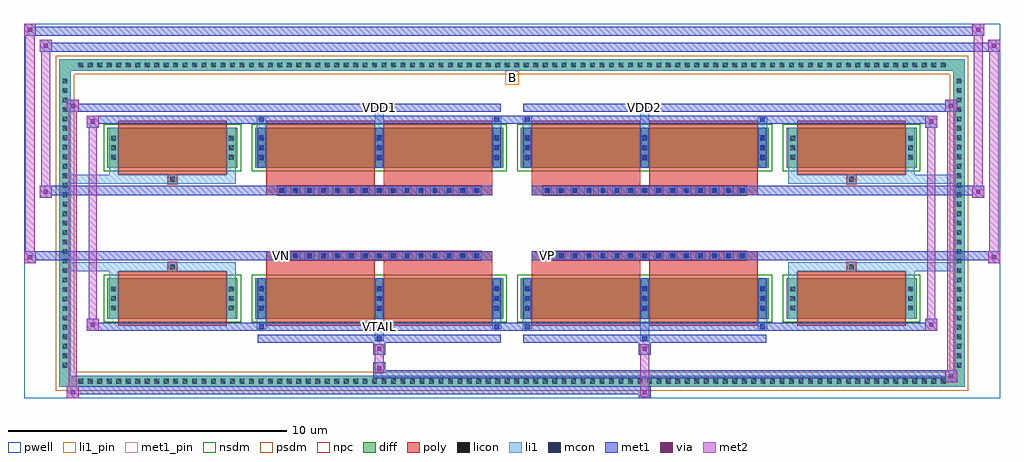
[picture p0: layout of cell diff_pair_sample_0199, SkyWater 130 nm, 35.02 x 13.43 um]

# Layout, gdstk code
import gdstk
lib = gdstk.Library(unit=1e-6, precision=5e-09)
def R(c, l, rs):  # rectangles x0, y0, x1, y1
    for r in rs: c.add(gdstk.rectangle(r[:2], r[2:], *l))
def A(c, l, x, y, w, h, nx, ny, dx, dy):  # array of equal rectangles
    R(c, l, [(x+i*dx, y+j*dy, x+i*dx+w, y+j*dy+h) for i in range(nx) for j in range(ny)])
def P(c, l, *ps):  # polygons
    for p in ps: c.add(gdstk.Polygon(p, *l))
pwell = (64, 44)
diff = (65, 20)
poly = (66, 20)
licon = (66, 44)
li1_pin = (67, 16)
li1 = (67, 20)
mcon = (67, 44)
met1_pin = (68, 16)
met1 = (68, 20)
via = (68, 44)
met2 = (69, 20)
nsdm = (93, 44)
psdm = (94, 20)
npc = (95, 20)

diff_pair_sample_0199 = lib.new_cell('diff_pair_sample_0199')
R(diff_pair_sample_0199, pwell, [(-17.51,-6.28,17.51,7.15), (-14.83,-4.47,-0.01,-0.805), (0.01,-4.47,14.83,-0.805), (-14.83,0.805,-0.01,4.47), (0.01,0.805,14.83,4.47)])
A(diff_pair_sample_0199, diff, -15.675, -5.88, 0.41, 0.41, 92, 2, 0.34, 11.35)
A(diff_pair_sample_0199, diff, -16.24, -5.305, 0.41, 0.41, 1, 31, 0, 0.34)
A(diff_pair_sample_0199, diff, 15.83, -5.305, 0.41, 0.41, 1, 31, 0, 0.34)
R(diff_pair_sample_0199, diff, [(-15.675,-5.88,15.675,-5.47), (-16.24,-5.305,-15.83,5.305), (15.83,-5.305,16.24,5.305), (-14.52,-3.425,-9.85,-1.985), (-9.21,-3.425,-0.32,-1.985), (0.32,-3.425,9.21,-1.985), (9.85,-3.425,14.52,-1.985), (-14.52,1.985,-9.85,3.425), (-9.21,1.985,-0.32,3.425), (0.32,1.985,9.21,3.425), (9.85,1.985,14.52,3.425), (-15.675,5.47,15.675,5.88)])
P(diff_pair_sample_0199, diff, [(16.24,5.88),(-16.24,5.88),(-16.24,-5.47),(-15.83,-5.47),(-15.83,5.47),(15.83,5.47),(15.83,-5.47),(-15.83,-5.47),(-16.24,-5.47),(-16.24,-5.88),(16.24,-5.88)])
A(diff_pair_sample_0199, poly, -8.43, -1.335, 0.33, 0.33, 15, 2, 0.5, 2.34)
A(diff_pair_sample_0199, poly, 1.1, -1.335, 0.33, 0.33, 15, 2, 0.5, 2.34)
R(diff_pair_sample_0199, poly, [(-14.13,-3.675,-10.24,-1.735), (-8.82,-3.675,-4.93,-1.735), (-4.6,-3.675,-0.71,-1.735), (0.71,-3.675,4.6,-1.735), (4.93,-3.675,8.82,-1.735), (10.24,-3.675,14.13,-1.735), (-12.35,-1.735,-12.02,-1.405), (-12.35,-1.735,-12.02,-1.405), (-8.82,-1.735,-4.93,-1.335), (-4.6,-1.735,-0.71,-1.335), (0.71,-1.735,4.6,-1.335), (4.93,-1.735,8.82,-1.335), (12.02,-1.735,12.35,-1.405), (12.02,-1.735,12.35,-1.405), (-8.82,-1.335,-0.71,-1.005), (0.71,-1.335,8.82,-1.005), (-8.82,1.005,-0.71,1.335), (0.71,1.005,8.82,1.335), (-8.82,1.335,-4.93,1.735), (-4.6,1.335,-0.71,1.735), (0.71,1.335,4.6,1.735), (4.93,1.335,8.82,1.735), (-12.35,1.405,-12.02,1.735), (-12.35,1.405,-12.02,1.735), (12.02,1.405,12.35,1.735), (12.02,1.405,12.35,1.735), (-14.13,1.735,-10.24,3.675), (-8.82,1.735,-4.93,3.675), (-4.6,1.735,-0.71,3.675), (0.71,1.735,4.6,3.675), (4.93,1.735,8.82,3.675), (10.24,1.735,14.13,3.675)])
A(diff_pair_sample_0199, licon, -15.555, -5.76, 0.17, 0.17, 92, 2, 0.34, 11.35)
A(diff_pair_sample_0199, licon, -16.12, -5.185, 0.17, 0.17, 1, 31, 0, 0.34)
A(diff_pair_sample_0199, licon, 15.95, -5.185, 0.17, 0.17, 1, 31, 0, 0.34)
A(diff_pair_sample_0199, licon, -14.38, -3.13, 0.17, 0.17, 1, 3, 0, 0.34)
A(diff_pair_sample_0199, licon, -10.16, -3.13, 0.17, 0.17, 1, 3, 0, 0.34)
A(diff_pair_sample_0199, licon, -9.07, -3.13, 0.17, 0.17, 3, 3, 4.22, 0.34)
A(diff_pair_sample_0199, licon, 0.46, -3.13, 0.17, 0.17, 3, 3, 4.22, 0.34)
A(diff_pair_sample_0199, licon, 9.99, -3.13, 0.17, 0.17, 1, 3, 0, 0.34)
A(diff_pair_sample_0199, licon, 14.21, -3.13, 0.17, 0.17, 1, 3, 0, 0.34)
A(diff_pair_sample_0199, licon, -8.35, -1.255, 0.17, 0.17, 15, 2, 0.5, 2.34)
A(diff_pair_sample_0199, licon, 1.18, -1.255, 0.17, 0.17, 15, 2, 0.5, 2.34)
A(diff_pair_sample_0199, licon, -14.38, 2.28, 0.17, 0.17, 1, 3, 0, 0.34)
A(diff_pair_sample_0199, licon, -10.16, 2.28, 0.17, 0.17, 1, 3, 0, 0.34)
A(diff_pair_sample_0199, licon, -9.07, 2.28, 0.17, 0.17, 3, 3, 4.22, 0.34)
A(diff_pair_sample_0199, licon, 0.46, 2.28, 0.17, 0.17, 3, 3, 4.22, 0.34)
A(diff_pair_sample_0199, licon, 9.99, 2.28, 0.17, 0.17, 1, 3, 0, 0.34)
A(diff_pair_sample_0199, licon, 14.21, 2.28, 0.17, 0.17, 1, 3, 0, 0.34)
R(diff_pair_sample_0199, licon, [(-12.27,-1.655,-12.1,-1.485), (12.1,-1.655,12.27,-1.485), (-12.27,1.485,-12.1,1.655), (12.1,1.485,12.27,1.655)])
R(diff_pair_sample_0199, li1_pin, [(-0.25,4.97,0.25,5.47)])
A(diff_pair_sample_0199, li1, -15.635, -5.84, 0.33, 0.33, 92, 2, 0.34, 11.35)
A(diff_pair_sample_0199, li1, -16.2, -5.265, 0.33, 0.33, 1, 31, 0, 0.34)
A(diff_pair_sample_0199, li1, 15.87, -5.265, 0.33, 0.33, 1, 31, 0, 0.34)
A(diff_pair_sample_0199, li1, -9.15, -3.425, 0.33, 1.44, 3, 2, 4.22, 5.41)
A(diff_pair_sample_0199, li1, 0.38, -3.425, 0.33, 1.44, 3, 2, 4.22, 5.41)
A(diff_pair_sample_0199, li1, -14.46, -3.21, 0.33, 0.33, 1, 3, 0, 0.34)
A(diff_pair_sample_0199, li1, -10.24, -3.21, 0.33, 0.33, 1, 3, 0, 0.34)
A(diff_pair_sample_0199, li1, -9.15, -3.21, 0.33, 0.33, 3, 3, 4.22, 0.34)
A(diff_pair_sample_0199, li1, 0.38, -3.21, 0.33, 0.33, 3, 3, 4.22, 0.34)
A(diff_pair_sample_0199, li1, 9.91, -3.21, 0.33, 0.33, 1, 3, 0, 0.34)
A(diff_pair_sample_0199, li1, 14.13, -3.21, 0.33, 0.33, 1, 3, 0, 0.34)
A(diff_pair_sample_0199, li1, -9.07, -3.15, 0.17, 0.17, 3, 3, 4.22, 0.36)
A(diff_pair_sample_0199, li1, -9.07, -3.15, 0.17, 0.89, 3, 2, 4.22, 5.41)
A(diff_pair_sample_0199, li1, 0.46, -3.15, 0.17, 0.17, 3, 3, 4.22, 0.36)
A(diff_pair_sample_0199, li1, 0.46, -3.15, 0.17, 0.89, 3, 2, 4.22, 5.41)
A(diff_pair_sample_0199, li1, -8.43, -1.335, 0.33, 0.33, 15, 2, 0.5, 2.34)
A(diff_pair_sample_0199, li1, 1.1, -1.335, 0.33, 0.33, 15, 2, 0.5, 2.34)
A(diff_pair_sample_0199, li1, -14.46, 2.2, 0.33, 0.33, 1, 3, 0, 0.34)
A(diff_pair_sample_0199, li1, -10.24, 2.2, 0.33, 0.33, 1, 3, 0, 0.34)
A(diff_pair_sample_0199, li1, -9.15, 2.2, 0.33, 0.33, 3, 3, 4.22, 0.34)
A(diff_pair_sample_0199, li1, 0.38, 2.2, 0.33, 0.33, 3, 3, 4.22, 0.34)
A(diff_pair_sample_0199, li1, 9.91, 2.2, 0.33, 0.33, 1, 3, 0, 0.34)
A(diff_pair_sample_0199, li1, 14.13, 2.2, 0.33, 0.33, 1, 3, 0, 0.34)
A(diff_pair_sample_0199, li1, -9.07, 2.26, 0.17, 0.17, 3, 3, 4.22, 0.36)
A(diff_pair_sample_0199, li1, 0.46, 2.26, 0.17, 0.17, 3, 3, 4.22, 0.36)
R(diff_pair_sample_0199, li1, [(-16.24,-5.88,-15.83,-5.47), (-16.24,-5.88,-15.83,-5.47), (-15.83,-5.88,15.83,-5.47), (15.83,-5.88,16.24,-5.47), (15.83,-5.88,16.24,-5.47), (-16.24,-5.47,-15.83,5.47), (15.83,-5.47,16.24,5.47), (-4.93,-4.23,-4.6,-3.425), (-4.85,-4.23,-4.68,-4.06), (4.6,-4.23,4.93,-3.425), (4.68,-4.23,4.85,-4.06), (-9.15,-3.8,-8.82,-3.425), (-9.07,-3.8,-8.9,-3.63), (-0.71,-3.8,-0.38,-3.425), (-0.63,-3.8,-0.46,-3.63), (0.38,-3.8,0.71,-3.425), (0.46,-3.8,0.63,-3.63), (8.82,-3.8,9.15,-3.425), (8.9,-3.8,9.07,-3.63), (-14.46,-3.425,-14.13,-1.985), (-10.24,-3.425,-9.91,-1.985), (9.91,-3.425,10.24,-1.985), (14.13,-3.425,14.46,-1.985), (-14.46,-1.985,-14.13,-1.405), (-10.24,-1.985,-9.91,-1.405), (9.91,-1.985,10.24,-1.405), (14.13,-1.985,14.46,-1.405), (-16.24,-1.735,-12.35,-1.405), (-14.46,-1.735,-12.35,-1.405), (-12.35,-1.735,-12.02,-1.405), (-12.02,-1.735,-9.91,-1.405), (9.91,-1.735,12.02,-1.405), (12.02,-1.735,12.35,-1.405), (12.02,-1.735,16.24,-1.405), (12.35,-1.735,14.46,-1.405), (-16.24,1.405,-12.35,1.735), (-14.46,1.405,-12.35,1.735), (-14.46,1.405,-14.13,1.985), (-12.35,1.405,-12.02,1.735), (-12.02,1.405,-9.91,1.735), (-10.24,1.405,-9.91,1.985), (9.91,1.405,12.02,1.735), (9.91,1.405,10.24,1.985), (12.02,1.405,12.35,1.735), (12.02,1.405,16.24,1.735), (12.35,1.405,14.46,1.735), (14.13,1.405,14.46,1.985), (-14.46,1.985,-14.13,3.425), (-10.24,1.985,-9.91,3.425), (9.91,1.985,10.24,3.425), (14.13,1.985,14.46,3.425), (-9.15,3.425,-8.82,3.8), (-4.93,3.425,-4.6,4.23), (-0.71,3.425,-0.38,3.8), (0.38,3.425,0.71,3.8), (4.6,3.425,4.93,4.23), (8.82,3.425,9.15,3.8), (-9.07,3.63,-8.9,3.8), (-0.63,3.63,-0.46,3.8), (0.46,3.63,0.63,3.8), (8.9,3.63,9.07,3.8), (-4.85,4.06,-4.68,4.23), (4.68,4.06,4.85,4.23), (-16.24,5.47,-15.83,5.88), (-16.24,5.47,-15.83,5.88), (-15.83,5.47,15.83,5.88), (15.83,5.47,16.24,5.88), (15.83,5.47,16.24,5.88)])
A(diff_pair_sample_0199, mcon, -9.07, -3.15, 0.17, 0.17, 3, 3, 4.22, 0.36)
A(diff_pair_sample_0199, mcon, 0.46, -3.15, 0.17, 0.17, 3, 3, 4.22, 0.36)
A(diff_pair_sample_0199, mcon, -8.35, -1.255, 0.17, 0.17, 15, 2, 0.5, 2.34)
A(diff_pair_sample_0199, mcon, 1.18, -1.255, 0.17, 0.17, 15, 2, 0.5, 2.34)
A(diff_pair_sample_0199, mcon, -9.07, 2.26, 0.17, 0.17, 3, 3, 4.22, 0.36)
A(diff_pair_sample_0199, mcon, 0.46, 2.26, 0.17, 0.17, 3, 3, 4.22, 0.36)
R(diff_pair_sample_0199, mcon, [(-4.85,-4.23,-4.68,-4.06), (4.68,-4.23,4.85,-4.06), (-9.07,-3.8,-8.9,-3.63), (-0.63,-3.8,-0.46,-3.63), (0.46,-3.8,0.63,-3.63), (8.9,-3.8,9.07,-3.63), (-9.07,3.63,-8.9,3.8), (-0.63,3.63,-0.46,3.8), (0.46,3.63,0.63,3.8), (8.9,3.63,9.07,3.8), (-4.85,4.06,-4.68,4.23), (4.68,4.06,4.85,4.23)])
R(diff_pair_sample_0199, met1_pin, [(-4.9,-3.84,-4.63,-3.57), (-8.4,-1.295,-8.13,-1.025), (1.13,-1.295,1.4,-1.025), (-4.9,4.02,-4.63,4.29), (4.63,4.02,4.9,4.29)])
A(diff_pair_sample_0199, met1, -9.13, -3.425, 0.29, 1.44, 3, 2, 4.22, 5.41)
A(diff_pair_sample_0199, met1, 0.4, -3.425, 0.29, 1.44, 3, 2, 4.22, 5.41)
A(diff_pair_sample_0199, met1, -9.13, -3.21, 0.29, 0.29, 3, 3, 4.22, 0.36)
A(diff_pair_sample_0199, met1, 0.4, -3.21, 0.29, 0.29, 3, 3, 4.22, 0.36)
A(diff_pair_sample_0199, met1, -8.41, -1.315, 0.29, 0.29, 15, 2, 0.5, 2.34)
A(diff_pair_sample_0199, met1, 1.12, -1.315, 0.29, 0.29, 15, 2, 0.5, 2.34)
A(diff_pair_sample_0199, met1, -9.13, 2.2, 0.29, 0.29, 3, 3, 4.22, 0.36)
A(diff_pair_sample_0199, met1, 0.4, 2.2, 0.29, 0.29, 3, 3, 4.22, 0.36)
R(diff_pair_sample_0199, met1, [(-15.97,-6.28,-15.54,-5.85), (4.55,-6.28,4.98,-5.85), (-15.97,-6.14,4.98,-5.85), (15.54,-5.71,15.97,-5.28), (-4.98,-5.57,15.97,-5.28), (-4.98,-5.43,-4.55,-5), (-4.98,-4.72,-4.55,-4.29), (4.55,-4.72,4.98,-4.29), (-9.13,-4.29,-0.4,-4), (-4.91,-4.29,-4.62,-4), (0.4,-4.29,9.13,-4), (4.62,-4.29,4.91,-4), (-15.26,-3.86,-14.83,-3.43), (-15.26,-3.86,-9.13,-3.57), (-9.13,-3.86,-8.84,-3.57), (-9.13,-3.86,-0.4,-3.57), (-0.69,-3.86,-0.4,-3.57), (-0.4,-3.86,0.4,-3.57), (0.4,-3.86,0.69,-3.57), (0.4,-3.86,9.13,-3.57), (8.84,-3.86,9.13,-3.57), (9.13,-3.86,15.26,-3.57), (14.83,-3.86,15.26,-3.43), (-17.51,-1.435,-17.08,-1.005), (17.08,-1.435,17.51,-1.005), (-17.51,-1.335,-0.71,-1.005), (-8.82,-1.335,-0.71,-1.005), (0.71,-1.335,8.82,-1.005), (0.71,-1.335,17.51,-1.005), (-16.94,0.905,-16.51,1.335), (16.51,0.905,16.94,1.335), (-16.94,1.005,-8.82,1.335), (-8.82,1.005,-0.71,1.335), (0.71,1.005,8.82,1.335), (8.82,1.005,16.94,1.335), (-15.26,3.43,-14.83,3.86), (14.83,3.43,15.26,3.86), (-15.26,3.57,-9.13,3.86), (-9.13,3.57,-8.84,3.86), (-9.13,3.57,-0.4,3.86), (-0.69,3.57,-0.4,3.86), (-0.4,3.57,0.4,3.86), (0.4,3.57,0.69,3.86), (0.4,3.57,9.13,3.86), (8.84,3.57,9.13,3.86), (9.13,3.57,15.26,3.86), (-15.97,4,-15.54,4.43), (-15.97,4,-9.13,4.29), (-9.13,4,-0.4,4.29), (-4.91,4,-4.62,4.29), (0.4,4,9.13,4.29), (4.62,4,4.91,4.29), (9.13,4,15.97,4.29), (15.54,4,15.97,4.43), (-16.94,6.15,-16.51,6.58), (-16.94,6.15,-14.83,6.48), (-14.83,6.15,14.83,6.48), (14.83,6.15,17.51,6.48), (17.08,6.15,17.51,6.58), (-17.51,6.72,-17.08,7.15), (-17.51,6.72,-14.83,7.05), (-14.83,6.72,14.83,7.05), (14.83,6.72,16.94,7.05), (16.51,6.72,16.94,7.15)])
R(diff_pair_sample_0199, via, [(-15.83,-6.14,-15.68,-5.99), (4.69,-6.14,4.84,-5.99), (15.68,-5.57,15.83,-5.42), (-4.84,-5.29,-4.69,-5.14), (-4.84,-4.58,-4.69,-4.43), (4.69,-4.58,4.84,-4.43), (-15.12,-3.72,-14.97,-3.57), (14.97,-3.72,15.12,-3.57), (-17.37,-1.295,-17.22,-1.145), (17.22,-1.295,17.37,-1.145), (-16.8,1.045,-16.65,1.195), (16.65,1.045,16.8,1.195), (-15.12,3.57,-14.97,3.72), (14.97,3.57,15.12,3.72), (-15.83,4.14,-15.68,4.29), (15.68,4.14,15.83,4.29), (-16.8,6.29,-16.65,6.44), (17.22,6.29,17.37,6.44), (-17.37,6.86,-17.22,7.01), (16.65,6.86,16.8,7.01)])
R(diff_pair_sample_0199, met2, [(-15.97,-6.28,-15.54,-5.85), (-15.9,-6.28,-15.61,4.43), (-15.61,-6.28,-15.54,-5.85), (-15.92,-6.23,-15.59,-5.9), (4.6,-6.23,4.93,-5.9), (4.6,-5.9,4.93,-4.67), (15.54,-5.71,15.97,-5.28), (15.61,-5.71,15.9,4.43), (15.9,-5.71,15.97,-5.28), (15.59,-5.66,15.92,-5.33), (-4.93,-5.38,-4.6,-5.05), (-4.93,-5.05,-4.6,-4.67), (-4.93,-4.67,-4.6,-4.34), (4.6,-4.67,4.93,-4.34), (-15.26,-3.86,-14.83,-3.43), (-15.19,-3.86,-14.9,3.86), (-14.9,-3.86,-14.83,-3.43), (14.83,-3.86,15.26,-3.43), (14.9,-3.86,15.19,3.86), (15.19,-3.86,15.26,-3.43), (-15.21,-3.81,-14.88,-3.48), (14.88,-3.81,15.21,-3.48), (-17.51,-1.435,-17.08,-1.005), (-17.46,-1.435,-17.13,7.15), (-17.13,-1.435,-17.08,-1.005), (17.08,-1.435,17.51,-1.005), (17.13,-1.435,17.46,6.58), (17.46,-1.435,17.51,-1.005), (-17.46,-1.385,-17.13,-1.055), (17.13,-1.385,17.46,-1.055), (-16.94,0.905,-16.51,1.335), (-16.89,0.905,-16.56,6.58), (-16.56,0.905,-16.51,1.335), (16.51,0.905,16.94,1.335), (16.56,0.905,16.89,7.15), (16.89,0.905,16.94,1.335), (-16.89,0.955,-16.56,1.285), (16.56,0.955,16.89,1.285), (-15.26,3.43,-14.83,3.86), (-14.9,3.43,-14.83,3.86), (14.83,3.43,15.26,3.86), (15.19,3.43,15.26,3.86), (-15.21,3.48,-14.88,3.81), (14.88,3.48,15.21,3.81), (-15.97,4,-15.54,4.43), (-15.61,4,-15.54,4.43), (15.54,4,15.97,4.43), (15.9,4,15.97,4.43), (-15.92,4.05,-15.59,4.38), (15.59,4.05,15.92,4.38), (-16.94,6.15,-16.51,6.58), (-16.56,6.15,-16.51,6.58), (17.08,6.15,17.51,6.58), (17.46,6.15,17.51,6.58), (-16.89,6.2,-16.56,6.53), (17.13,6.2,17.46,6.53), (-17.51,6.72,-17.08,7.15), (-17.13,6.72,-17.08,7.15), (16.51,6.72,16.94,7.15), (16.89,6.72,16.94,7.15), (-17.46,6.77,-17.13,7.1), (16.56,6.77,16.89,7.1)])
R(diff_pair_sample_0199, nsdm, [(-14.65,-3.555,-9.72,-1.855), (-9.34,-3.555,-0.19,-1.855), (0.19,-3.555,9.34,-1.855), (9.72,-3.555,14.65,-1.855), (-14.65,1.855,-9.72,3.555), (-9.34,1.855,-0.19,3.555), (0.19,1.855,9.34,3.555), (9.72,1.855,14.65,3.555)])
P(diff_pair_sample_0199, psdm, [(16.37,6.01),(-16.37,6.01),(-16.37,-5.34),(-15.7,-5.34),(-15.7,5.34),(15.7,5.34),(15.7,-5.34),(-15.7,-5.34),(-16.37,-5.34),(-16.37,-6.01),(16.37,-6.01)])
A(diff_pair_sample_0199, npc, -8.45, -1.355, 0.37, 0.37, 15, 2, 0.5, 2.34)
A(diff_pair_sample_0199, npc, 1.08, -1.355, 0.37, 0.37, 15, 2, 0.5, 2.34)
R(diff_pair_sample_0199, npc, [(-12.37,-1.755,-12,-1.385), (12,-1.755,12.37,-1.385), (-8.45,-1.355,-7.58,-0.985), (-8.45,-1.355,-7.58,-0.985), (-7.95,-1.355,-7.08,-0.985), (-7.95,-1.355,-7.08,-0.985), (-7.45,-1.355,-6.58,-0.985), (-7.45,-1.355,-6.58,-0.985), (-6.95,-1.355,-6.08,-0.985), (-6.95,-1.355,-6.08,-0.985), (-6.45,-1.355,-5.58,-0.985), (-6.45,-1.355,-5.58,-0.985), (-5.95,-1.355,-5.08,-0.985), (-5.95,-1.355,-5.08,-0.985), (-5.45,-1.355,-4.58,-0.985), (-5.45,-1.355,-4.58,-0.985), (-4.95,-1.355,-4.08,-0.985), (-4.95,-1.355,-4.08,-0.985), (-4.45,-1.355,-3.58,-0.985), (-4.45,-1.355,-3.58,-0.985), (-3.95,-1.355,-3.08,-0.985), (-3.95,-1.355,-3.08,-0.985), (-3.45,-1.355,-2.58,-0.985), (-3.45,-1.355,-2.58,-0.985), (-2.95,-1.355,-2.08,-0.985), (-2.95,-1.355,-2.08,-0.985), (-2.45,-1.355,-1.58,-0.985), (-2.45,-1.355,-1.58,-0.985), (-1.95,-1.355,-1.08,-0.985), (-1.95,-1.355,-1.08,-0.985), (1.08,-1.355,1.95,-0.985), (1.08,-1.355,1.95,-0.985), (1.58,-1.355,2.45,-0.985), (1.58,-1.355,2.45,-0.985), (2.08,-1.355,2.95,-0.985), (2.08,-1.355,2.95,-0.985), (2.58,-1.355,3.45,-0.985), (2.58,-1.355,3.45,-0.985), (3.08,-1.355,3.95,-0.985), (3.08,-1.355,3.95,-0.985), (3.58,-1.355,4.45,-0.985), (3.58,-1.355,4.45,-0.985), (4.08,-1.355,4.95,-0.985), (4.08,-1.355,4.95,-0.985), (4.58,-1.355,5.45,-0.985), (4.58,-1.355,5.45,-0.985), (5.08,-1.355,5.95,-0.985), (5.08,-1.355,5.95,-0.985), (5.58,-1.355,6.45,-0.985), (5.58,-1.355,6.45,-0.985), (6.08,-1.355,6.95,-0.985), (6.08,-1.355,6.95,-0.985), (6.58,-1.355,7.45,-0.985), (6.58,-1.355,7.45,-0.985), (7.08,-1.355,7.95,-0.985), (7.08,-1.355,7.95,-0.985), (7.58,-1.355,8.45,-0.985), (7.58,-1.355,8.45,-0.985), (-8.45,0.985,-7.58,1.355), (-8.45,0.985,-7.58,1.355), (-7.95,0.985,-7.08,1.355), (-7.95,0.985,-7.08,1.355), (-7.45,0.985,-6.58,1.355), (-7.45,0.985,-6.58,1.355), (-6.95,0.985,-6.08,1.355), (-6.95,0.985,-6.08,1.355), (-6.45,0.985,-5.58,1.355), (-6.45,0.985,-5.58,1.355), (-5.95,0.985,-5.08,1.355), (-5.95,0.985,-5.08,1.355), (-5.45,0.985,-4.58,1.355), (-5.45,0.985,-4.58,1.355), (-4.95,0.985,-4.08,1.355), (-4.95,0.985,-4.08,1.355), (-4.45,0.985,-3.58,1.355), (-4.45,0.985,-3.58,1.355), (-3.95,0.985,-3.08,1.355), (-3.95,0.985,-3.08,1.355), (-3.45,0.985,-2.58,1.355), (-3.45,0.985,-2.58,1.355), (-2.95,0.985,-2.08,1.355), (-2.95,0.985,-2.08,1.355), (-2.45,0.985,-1.58,1.355), (-2.45,0.985,-1.58,1.355), (-1.95,0.985,-1.08,1.355), (-1.95,0.985,-1.08,1.355), (1.08,0.985,1.95,1.355), (1.08,0.985,1.95,1.355), (1.58,0.985,2.45,1.355), (1.58,0.985,2.45,1.355), (2.08,0.985,2.95,1.355), (2.08,0.985,2.95,1.355), (2.58,0.985,3.45,1.355), (2.58,0.985,3.45,1.355), (3.08,0.985,3.95,1.355), (3.08,0.985,3.95,1.355), (3.58,0.985,4.45,1.355), (3.58,0.985,4.45,1.355), (4.08,0.985,4.95,1.355), (4.08,0.985,4.95,1.355), (4.58,0.985,5.45,1.355), (4.58,0.985,5.45,1.355), (5.08,0.985,5.95,1.355), (5.08,0.985,5.95,1.355), (5.58,0.985,6.45,1.355), (5.58,0.985,6.45,1.355), (6.08,0.985,6.95,1.355), (6.08,0.985,6.95,1.355), (6.58,0.985,7.45,1.355), (6.58,0.985,7.45,1.355), (7.08,0.985,7.95,1.355), (7.08,0.985,7.95,1.355), (7.58,0.985,8.45,1.355), (7.58,0.985,8.45,1.355), (-12.37,1.385,-12,1.755), (12,1.385,12.37,1.755)])
diff_pair_sample_0199.add(gdstk.Label('VTAIL', (-4.765,-3.705), layer=68, texttype=5))
diff_pair_sample_0199.add(gdstk.Label('VN', (-8.265,-1.16), layer=68, texttype=5))
diff_pair_sample_0199.add(gdstk.Label('VP', (1.265,-1.16), layer=68, texttype=5))
diff_pair_sample_0199.add(gdstk.Label('B', (0,5.22), layer=67, texttype=5))
diff_pair_sample_0199.add(gdstk.Label('VDD2', (4.765,4.155), layer=68, texttype=5))
diff_pair_sample_0199.add(gdstk.Label('VDD1', (-4.765,4.155), layer=68, texttype=5))

lib.write_gds('diff_pair_sample_0199.gds')
